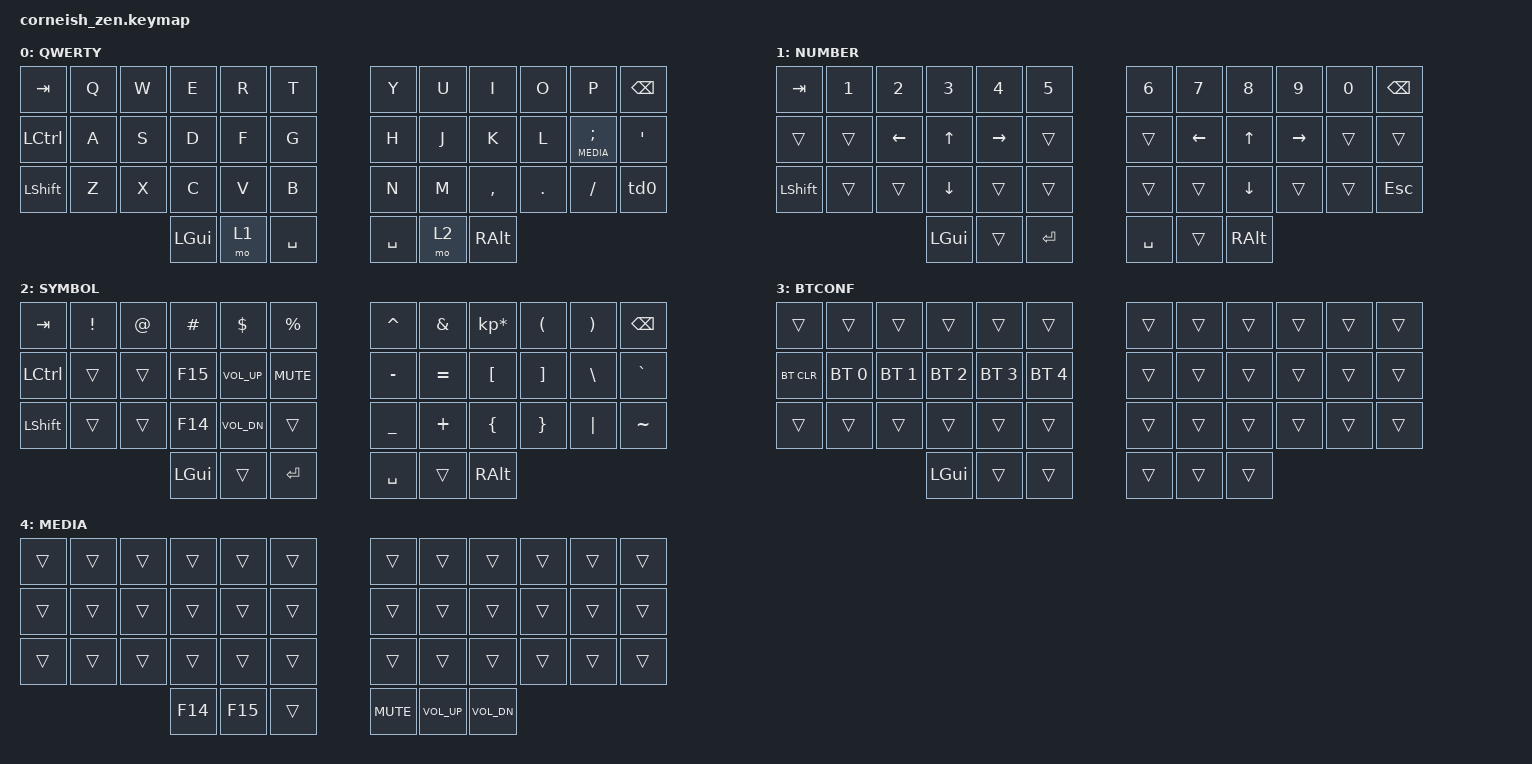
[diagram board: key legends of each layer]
#include <behaviors.dtsi>
#include <dt-bindings/zmk/keys.h>
#include <dt-bindings/zmk/bt.h>

#define DEFAULT 0
#define LOWER 1
#define RAISE 2
#define BTCONF 3
#define MEDIA 4


// Change Log:
// Moved Esc to Numbers Layer. Added Right Shift in place of Esc on main layer.
// Changed right long thumb to Space. Enter now accessible on right thumb of other layers. May move to left long thumb.
// Moved arrow keys on NUMBER layer to follow typical T but it is inverted 
// Added tri_layer for BT config. This helps avoid accidental BT changes when using number layer
// Changed default long keys to both space
// Swapped SPACE and RET on raise/lower
// Add layer-tap for SEMI to activate new Media layer
// Added VOL UP/DOWN and Brightness up/down (F15/F14) to Media layer 
// Comented out Tap Dance
// Added arrow keys to left side NUMBER layer to facilitate screen changing via keyboard shortcuts

/ {
  chosen {
    zmk,matrix_transform = &default_transform;
    //zmk,matrix_transform = &five_column_transform;
  };
};

/ {
  conditional_layers {
      compatible = "zmk,conditional-layers";
      tri_layer {
          if-layers = <1 2>;
	  then-layer = <3>;
      };
  };
};

/ {
	behaviors {
  		td0: tap_dance_0 {
			compatible = "zmk,behavior-tap-dance";
			label = "TAP_DANCE_0";
			#binding-cells = <0>;
			tapping-term-ms = <200>;
			bindings = <&kp RSHFT>, <&kp RET>;
		};
 	};		
 }; 

&lt {
	tapping-term-ms = <200>;
};
/ {

        keymap {
                compatible = "zmk,keymap";

                default_layer {
                        label = "QWERTY";
// -----------------------------------------------------------------------------------------
// |  TAB |  Q  |  W  |  E  |  R  |  T  |   |  Y  |  U   |  I  |  O  |  P  | BKSP |
// | CTRL |  A  |  S  |  D  |  F  |  G  |   |  H  |  J   |  K  |  L  |  ;  |  '   |
// | SHFT |  Z  |  X  |  C  |  V  |  B  |   |  N  |  M   |  ,  |  .  |  /  | SHFT |
//                    | GUI | LWR | SPC |   | SPC | RSE  | ALT |
                        bindings = <
   &kp TAB   &kp Q &kp W &kp E &kp R &kp T   &kp Y &kp U  &kp I     &kp O   &kp P    &kp BSPC
   &kp LCTRL &kp A &kp S &kp D &kp F &kp G   &kp H &kp J  &kp K     &kp L   &lt MEDIA SEMI     &kp SQT
   &kp LSHFT &kp Z &kp X &kp C &kp V &kp B   &kp N &kp M  &kp COMMA &kp DOT &kp FSLH &td0
                  &kp LGUI &mo 1 &kp SPACE   &kp SPACE &mo 2 &kp RALT
                        >;
                };
                lower_layer {
                        label = "NUMBER";
// -----------------------------------------------------------------------------------------
// |  TAB |  1  |  2  |  3  |  4  |  5  |   |  6  |  7  |  8  |  9  |  0  | BKSP |
// |      |     | LFT | UP  | RGT |     |   |     | LFT |  UP | RGT |     |      |
// | SHFT |     |     | DWN |     |     |   |     |     | DWN |     |     | ESC  |
//                    | GUI |     | ENT |   | SPC |     | ALT |
                        bindings = <
   &kp TAB    &kp N1       &kp N2       &kp N3       &kp N4       &kp N5         &kp N6   &kp N7   &kp N8 &kp N9    &kp N0 &kp BSPC
   &trans &trans &kp LEFT &kp UP &kp RIGHT &trans   &trans   &kp LEFT &kp UP &kp RIGHT &trans &trans
   &kp LSHFT  &trans       &trans       &kp DOWN       &trans       &trans         &trans   &trans   &kp DOWN &trans    &trans &kp ESC
                          	        &kp LGUI     &trans       &kp RET      &kp SPACE  &trans   &kp RALT
                        >;
                };

                raise_layer {
                        label = "SYMBOL";
// -----------------------------------------------------------------------------------------
// |  TAB |  !  |  @  |  #  |  $  |  %  |   |  ^  |  &  |  *  |  (  |  )  | BKSP |
// | CTRL |     |     | F15 |VOLUP| MUTE|   |  -  |  =  |  [  |  ]  |  \  |  `   |
// | SHFT |     |     | F14 |VOLDN|     |   |  _  |  +  |  {  |  }  | "|" |  ~   |
//                    | GUI |     | ENT |   | SPC |     | ALT |
                        bindings = <
   &kp  TAB  &kp EXCL &kp AT &kp HASH &kp DLLR &kp PRCNT   	&kp CARET &kp AMPS  &kp KP_MULTIPLY &kp LPAR &kp RPAR &kp BSPC
   &kp LCTRL &trans   &trans &kp F15 &kp C_VOL_UP &kp C_MUTE  	&kp MINUS &kp EQUAL &kp LBKT        &kp RBKT &kp BSLH &kp GRAVE
   &kp LSHFT &trans   &trans &kp F14 &kp C_VOL_DN &trans      	&kp UNDER &kp PLUS  &kp LBRC        &kp RBRC &kp PIPE &kp TILDE
                    	     &kp LGUI &trans   &kp RET   	&kp SPACE &trans    &kp RALT
                        >;
                };
                tri_layer {
                        label = "BTCONF";
// -----------------------------------------------------------------------------------------
// |      |     |     |     |     |     |   |     |     |     |     |     |      |
// | BTCLR| BT1 | BT2 | BT3 | BT4 | BT5 |   |     |     |     |     |     |      |
// |      |     |     |     |     |     |   |     |     |     |     |     |      |
//                    | GUI |     |     |   |     |     |     |
                        bindings = <
   &trans    &trans       &trans       &trans       &trans       &trans         &trans   &trans   &trans &trans    &trans &trans
   &bt BT_CLR &bt BT_SEL 0 &bt BT_SEL 1 &bt BT_SEL 2 &bt BT_SEL 3 &bt BT_SEL 4   &trans   &trans &trans &trans &trans &trans
   &trans  &trans       &trans       &trans       &trans       &trans         &trans   &trans   &trans &trans    &trans &trans
                          	        &kp LGUI     &trans       &trans      &trans  &trans   &trans
                        >;
                };

                media_layer {
                        label = "MEDIA";
// -----------------------------------------------------------------------------------------
// |      |     |     |     |     |     |   |     |     |     |     |     |      |
// |      |     |     |     |     |     |   |     |     |     |     |     |      |
// |      |     |     |     |     |     |   |     |     |     |     |     |      |
//        |BRIGHT DWN | BRIGHT UP |     |   |MUTE |VOLUP|VOLDN|
                        bindings = <
   &trans  &trans  &trans  &trans  &trans  &trans        &trans   &trans   &trans  &trans  &trans  &trans
   &trans  &trans  &trans  &trans  &trans  &trans        &trans   &trans   &trans  &trans  &trans  &trans
   &trans  &trans  &trans  &trans  &trans  &trans        &trans   &trans   &trans  &trans  &trans  &trans
                           &kp F14  &kp F15  &trans   	 &kp C_MUTE  &kp C_VOL_UP  &kp C_VOL_DN
                        >;
                };
			

		
        };
};
